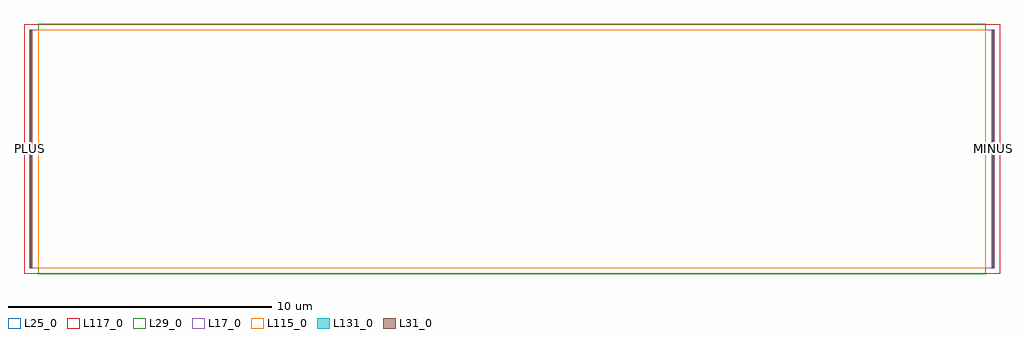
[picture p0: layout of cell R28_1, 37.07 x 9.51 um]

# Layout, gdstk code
import gdstk
lib = gdstk.Library(unit=1e-6, precision=1e-09)
def R(c, l, rs):  # rectangles x0, y0, x1, y1
    for r in rs: c.add(gdstk.rectangle(r[:2], r[2:], *l))
L17_0 = (17, 0)
L25_0 = (25, 0)
L29_0 = (29, 0)
L31_0 = (31, 0)
L115_0 = (115, 0)
L117_0 = (117, 0)
L131_0 = (131, 0)

r28_1 = lib.new_cell('R28_1')
R(r28_1, L17_0, [(0.2,0.22,36.87,9.29)])
R(r28_1, L25_0, [(0,0.02,37.07,9.49)])
R(r28_1, L29_0, [(0.54,0,36.53,9.51)])
R(r28_1, L31_0, [(0.23,0.235,0.32,9.275), (36.75,0.235,36.84,9.275)])
R(r28_1, L115_0, [(0.54,0.22,36.53,9.29)])
R(r28_1, L117_0, [(0,0.02,37.07,9.49)])
R(r28_1, L131_0, [(0.23,0.22,0.32,9.29), (36.75,0.22,36.84,9.29)])
r28_1.add(gdstk.Label('PLUS', (0.23,4.77), layer=131, texttype=0))
r28_1.add(gdstk.Label('MINUS', (36.84,4.77), layer=131, texttype=0))

lib.write_gds('R28_1.gds')
